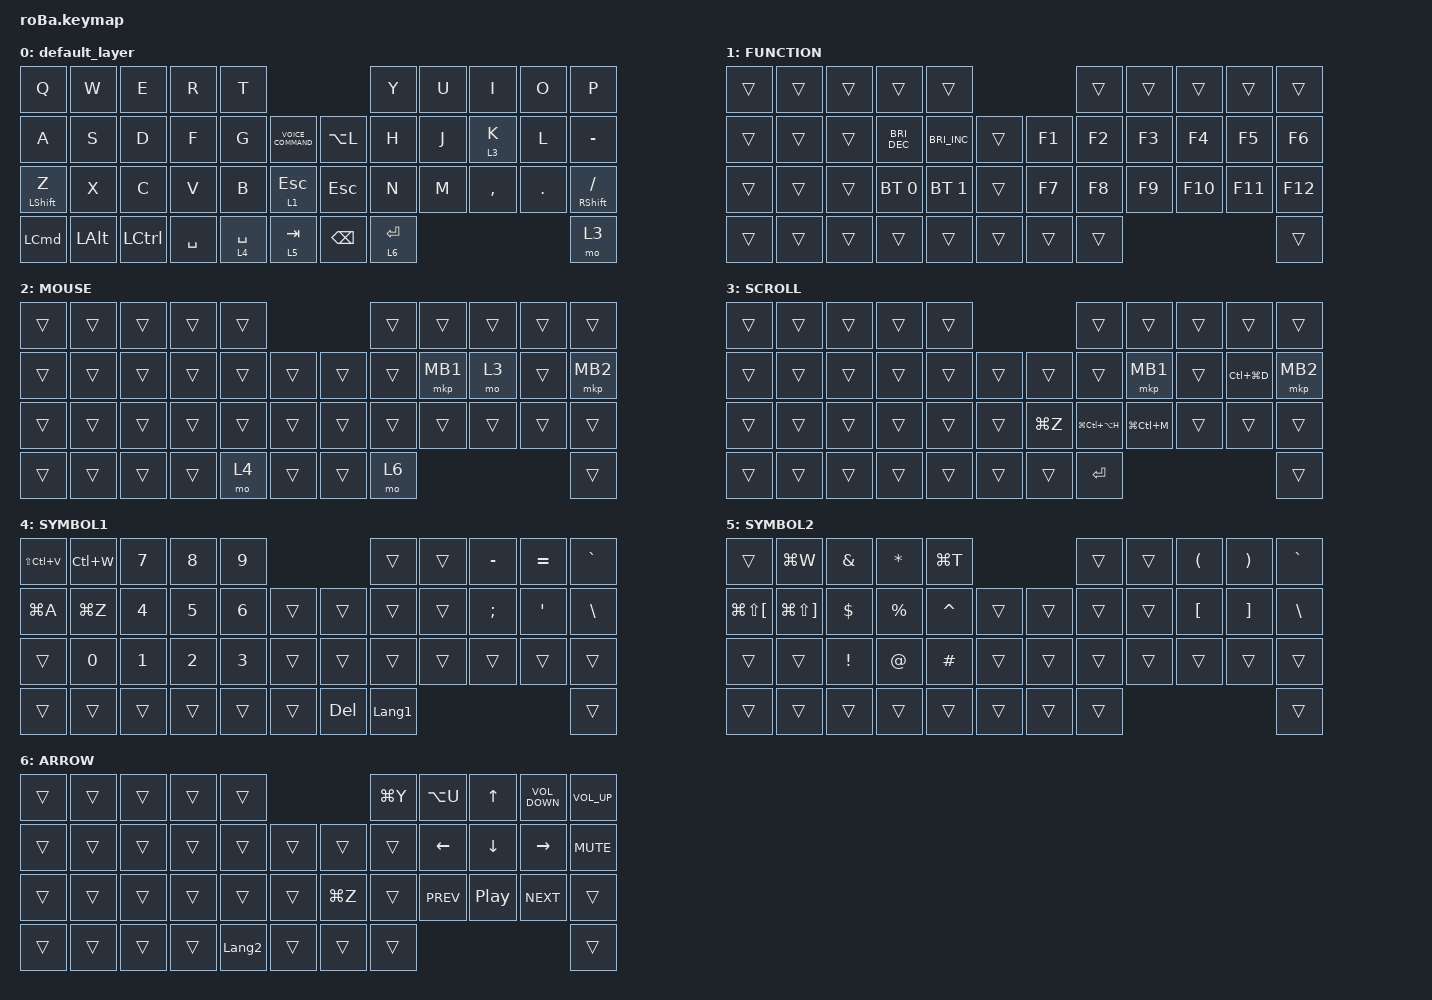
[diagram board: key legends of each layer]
#include <behaviors.dtsi>
#include <dt-bindings/zmk/bt.h>
#include <dt-bindings/zmk/keys.h>
#include <dt-bindings/zmk/pointing.h>

&mt {
    flavor = "balanced";
    quick-tap-ms = <0>;
};

&lt {
    flavor = "balanced";
    quick-tap-ms = <0>;
};

&trackball {
    automouse-layer = <2>;
    scroll-layers = <3>;

    // arrows {
    //     layers = <3>;
    //     bindings =
    //         <&kp RIGHT_ARROW>,
    //         <&kp LEFT_ARROW>,
    //         <&kp UP_ARROW>,
    //         <&kp DOWN_ARROW>;
    //     tick = <10>;
    //     wait-ms = <5>;
    //     tap-ms = <5>;
    // };
};

/ {
    combos { compatible = "zmk,combos"; };

    behaviors {
        lt_short: lt_short {
            compatible = "zmk,behavior-hold-tap";
            #binding-cells = <2>;
            tapping-term-ms = <150>;
            flavor = "balanced";
            bindings = <&mo>, <&kp>;
        };
    };

    keymap {
        compatible = "zmk,keymap";

        default_layer {
            bindings = <
&kp Q             &kp W         &kp E             &kp R      &kp T                                                &kp Y         &kp U  &kp I      &kp O    &kp P
&kp A             &kp S         &kp D             &kp F      &kp G        &kp C_VOICE_COMMAND      &kp LA(L)      &kp H         &kp J  &lt 3 K    &kp L    &kp MINUS
&mt LEFT_SHIFT Z  &kp X         &kp C             &kp V      &kp B        &lt 1 ESCAPE             &kp ESCAPE     &kp N         &kp M  &kp COMMA  &kp DOT  &mt RIGHT_SHIFT SLASH
&kp LEFT_COMMAND  &kp LEFT_ALT  &kp LEFT_CONTROL  &kp SPACE  &lt 4 SPACE  &lt 5 TAB                &kp BACKSPACE  &lt 6 RETURN                             &mo 3
            >;
        };

        FUNCTION {
            bindings = <
&trans  &trans  &trans  &trans                &trans                                    &trans  &trans  &trans   &trans   &trans
&trans  &trans  &trans  &kp C_BRIGHTNESS_DEC  &kp C_BRIGHTNESS_INC  &trans      &kp F1  &kp F2  &kp F3  &kp F4   &kp F5   &kp F6
&trans  &trans  &trans  &bt BT_SEL 0          &bt BT_SEL 1          &trans      &kp F7  &kp F8  &kp F9  &kp F10  &kp F11  &kp F12
&trans  &trans  &trans  &trans                &trans                &trans      &trans  &trans                            &trans
            >;
        };

        MOUSE {
            bindings = <
&trans  &trans  &trans  &trans  &trans                      &trans  &trans    &trans  &trans  &trans
&trans  &trans  &trans  &trans  &trans  &trans      &trans  &trans  &mkp MB1  &mo 3   &trans  &mkp MB2
&trans  &trans  &trans  &trans  &trans  &trans      &trans  &trans  &trans    &trans  &trans  &trans
&trans  &trans  &trans  &trans  &mo 4   &trans      &trans  &mo 6                             &trans
            >;
        };

        SCROLL {
            bindings = <
&trans  &trans  &trans  &trans  &trans                         &trans             &trans         &trans  &trans         &trans
&trans  &trans  &trans  &trans  &trans  &trans      &trans     &trans             &mkp MB1       &trans  &kp LC(LG(D))  &mkp MB2
&trans  &trans  &trans  &trans  &trans  &trans      &kp LG(Z)  &kp LG(LC(LA(H)))  &kp LG(LC(M))  &trans  &trans         &trans
&trans  &trans  &trans  &trans  &trans  &trans      &trans     &kp RETURN                                               &trans
            >;
        };

        SYMBOL1 {
            bindings = <
&kp LS(LC(V))  &kp LC(W)  &kp NUMBER_7  &kp NUMBER_8  &kp NUMBER_9                          &trans          &trans  &kp MINUS      &kp EQUAL         &kp GRAVE
&kp LG(A)      &kp LG(Z)  &kp NUMBER_4  &kp NUMBER_5  &kp NUMBER_6  &trans      &trans      &trans          &trans  &kp SEMICOLON  &kp SINGLE_QUOTE  &kp BACKSLASH
&trans         &kp N0     &kp NUMBER_1  &kp NUMBER_2  &kp NUMBER_3  &trans      &trans      &trans          &trans  &trans         &trans            &trans
&trans         &trans     &trans        &trans        &trans        &trans      &kp DELETE  &kp LANGUAGE_1                                           &trans
            >;
        };

        SYMBOL2 {
            bindings = <
&trans                    &kp LG(W)                  &kp AMPERSAND    &kp ASTERISK  &kp LG(T)                      &trans  &trans  &kp LEFT_PARENTHESIS  &kp RIGHT_PARENTHESIS  &kp GRAVE
&kp LG(LS(LEFT_BRACKET))  &kp LG(LS(RIGHT_BRACKET))  &kp DOLLAR       &kp PERCENT   &kp CARET  &trans      &trans  &trans  &trans  &kp LEFT_BRACKET      &kp RIGHT_BRACKET      &kp BACKSLASH
&trans                    &trans                     &kp EXCLAMATION  &kp AT_SIGN   &kp POUND  &trans      &trans  &trans  &trans  &trans                &trans                 &trans
&trans                    &trans                     &trans           &trans        &trans     &trans      &trans  &trans                                                       &trans
            >;
        };

        ARROW {
            bindings = <
&trans  &trans  &trans  &trans  &trans                                 &kp LG(Y)  &kp LA(U)   &kp UP    &kp C_VOLUME_DOWN  &kp C_VOL_UP
&trans  &trans  &trans  &trans  &trans          &trans      &trans     &trans     &kp LEFT    &kp DOWN  &kp RIGHT          &kp K_MUTE
&trans  &trans  &trans  &trans  &trans          &trans      &kp LG(Z)  &trans     &kp C_PREV  &kp C_PP  &kp C_NEXT         &trans
&trans  &trans  &trans  &trans  &kp LANGUAGE_2  &trans      &trans     &trans                                              &trans
            >;
        };
    };
};
